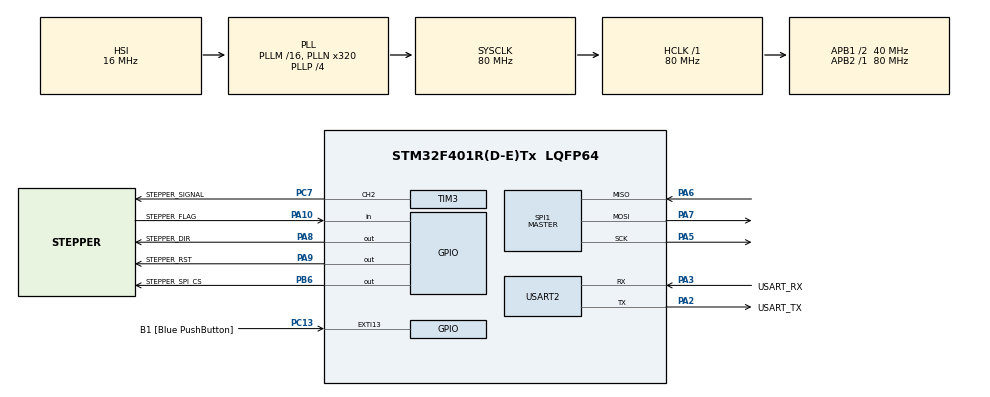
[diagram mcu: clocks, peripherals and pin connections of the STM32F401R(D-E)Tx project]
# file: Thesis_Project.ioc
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Mcu.Family=STM32F4
Mcu.Name=STM32F401R(D-E)Tx
Mcu.Package=LQFP64
NVIC.EXTI15_10_IRQn=true\:0\:0\:false\:false\:true\:true\:true\:true
NVIC.PriorityGroup=NVIC_PRIORITYGROUP_4
PA10.GPIO_Label=STEPPER_FLAG
PA10.Signal=GPIO_Input
PA13.Mode=Serial_Wire
PA13.Signal=SYS_JTMS-SWDIO
PA14.GPIO_Label=TCK
PA14.Mode=Serial_Wire
PA14.Signal=SYS_JTCK-SWCLK
PA2.GPIO_Label=USART_TX
PA2.GPIO_Mode=GPIO_MODE_AF_PP
PA2.GPIO_PuPd=GPIO_NOPULL
PA2.GPIO_Speed=GPIO_SPEED_FREQ_LOW
PA2.Mode=Asynchronous
PA2.Signal=USART2_TX
PA3.GPIO_Label=USART_RX
PA3.GPIO_Mode=GPIO_MODE_AF_PP
PA3.GPIO_PuPd=GPIO_NOPULL
PA3.GPIO_Speed=GPIO_SPEED_FREQ_LOW
PA3.Mode=Asynchronous
PA3.Signal=USART2_RX
PA5.Mode=Full_Duplex_Master
PA5.Signal=SPI1_SCK
PA6.Mode=Full_Duplex_Master
PA6.Signal=SPI1_MISO
PA7.Mode=Full_Duplex_Master
PA7.Signal=SPI1_MOSI
PA8.GPIO_Label=STEPPER_DIR
PA8.Signal=GPIO_Output
PA9.GPIO_Label=STEPPER_RST
PA9.Signal=GPIO_Output
PB6.GPIO_Label=STEPPER_SPI_CS
PB6.GPIO_PuPd=GPIO_PULLUP
PB6.GPIO_Speed=GPIO_SPEED_FREQ_LOW
PB6.Signal=GPIO_Output
PC13-ANTI_TAMP.GPIO_Label=B1 [Blue PushButton]
PC13-ANTI_TAMP.GPIO_ModeDefaultEXTI=GPIO_MODE_IT_FALLING
PC13-ANTI_TAMP.GPIO_PuPd=GPIO_NOPULL
PC13-ANTI_TAMP.Signal=GPXTI13
PC14-OSC32_IN.Mode=LSE-External-Oscillator
PC14-OSC32_IN.Signal=RCC_OSC32_IN
PC15-OSC32_OUT.Mode=LSE-External-Oscillator
PC15-OSC32_OUT.Signal=RCC_OSC32_OUT
PC7.GPIO_Label=STEPPER_SIGNAL
PC7.Signal=S_TIM3_CH2
PH0\ -\ OSC_IN.Mode=HSE-External-Clock-Source
PH0\ -\ OSC_IN.Signal=RCC_OSC_IN
PH1\ -\ OSC_OUT.Mode=HSE-External-Clock-Source
PH1\ -\ OSC_OUT.Signal=RCC_OSC_OUT
ProjectManager.HeapSize=0x200
ProjectManager.StackSize=0x400
ProjectManager.TargetToolchain=STM32CubeIDE
RCC.48MHZClocksFreq_Value=45714285.71428572
RCC.AHBFreq_Value=80000000
RCC.APB1CLKDivider=RCC_HCLK_DIV2
RCC.APB1Freq_Value=40000000
RCC.APB1TimFreq_Value=80000000
RCC.APB2Freq_Value=80000000
RCC.APB2TimFreq_Value=80000000
RCC.CortexFreq_Value=80000000
RCC.HCLKFreq_Value=80000000
RCC.HSE_VALUE=8000000
RCC.HSI_VALUE=16000000
RCC.PLLN=320
RCC.PLLP=RCC_PLLP_DIV4
RCC.PLLQ=7
RCC.SYSCLKFreq_VALUE=80000000
RCC.SYSCLKSource=RCC_SYSCLKSOURCE_PLLCLK
RCC.VCOOutputFreq_Value=320000000
SH.S_TIM3_CH2.0=TIM3_CH2,PWM Generation2 CH2
SPI1.BaudRatePrescaler=SPI_BAUDRATEPRESCALER_32
SPI1.Direction=SPI_DIRECTION_2LINES
SPI1.Mode=SPI_MODE_MASTER
SPI1.VirtualType=VM_MASTER
TIM3.Channel-PWM\ Generation2\ CH2=TIM_CHANNEL_2
TIM3.Period=999
TIM3.Prescaler=79
USART2.VirtualMode=VM_ASYNC
VP_TIM3_VS_ClockSourceINT.Mode=Internal
board=NUCLEO-F401RE

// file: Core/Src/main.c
/* USER CODE BEGIN Header */
/**
  ******************************************************************************
  * @file           : main.c
  * @brief          : Main program body
  ******************************************************************************
  * @attention
  *
  * Copyright (c) 2025 STMicroelectronics.
  * All rights reserved.
  *
  * This software is licensed under terms that can be found in the LICENSE file
  * in the root directory of this software component.
  * If no LICENSE file comes with this software, it is provided AS-IS.
  *
  ******************************************************************************
  */
/* USER CODE END Header */
#include "main.h"

/* USER CODE BEGIN Includes */
#include "l6474.h"
/* USER CODE END Includes */

/* USER CODE BEGIN PD */

uint16_t status_step;

/* USER CODE END PD */

SPI_HandleTypeDef hspi1;

TIM_HandleTypeDef htim3;

UART_HandleTypeDef huart2;

/* USER CODE BEGIN PV */

static l6474TypeDef stepper_motor = {
    .gpio_cs_number = STEPPER_SPI_CS_Pin,
    .gpio_cs_port = STEPPER_SPI_CS_GPIO_Port,
    .gpio_dir_number = STEPPER_DIR_Pin,
    .gpio_dir_port = STEPPER_DIR_GPIO_Port,
    .gpio_rst_number = STEPPER_RST_Pin,
    .gpio_rst_port = STEPPER_RST_GPIO_Port,
    .hspi_l6474 = &hspi1,
    .tim_channel = TIM_CHANNEL_2,
    .tim_handler = &htim3
};

/* USER CODE END PV */

void SystemClock_Config(void);
static void MX_GPIO_Init(void);
static void MX_USART2_UART_Init(void);
static void MX_SPI1_Init(void);
static void MX_TIM3_Init(void);

/* USER CODE BEGIN 0 */

float vel_temp = 6.28; // 1 rotation per second OR 60 rpm

/* USER CODE END 0 */

int main(void)
{

  /* MCU Configuration--------------------------------------------------------*/

  /* Reset of all peripherals, Initializes the Flash interface and the Systick. */
  HAL_Init();

  /* Configure the system clock */
  SystemClock_Config();

  /* Initialize all configured peripherals */
  MX_GPIO_Init();
  MX_USART2_UART_Init();
  MX_SPI1_Init();
  MX_TIM3_Init();
  /* USER CODE BEGIN 2 */

  HAL_Delay(1000);
  l6474_init(&stepper_motor);
  l6474_enable(&stepper_motor);
  HAL_Delay(2000);
  l6474_sel_vel(&stepper_motor, vel_temp);

  /* USER CODE END 2 */

  /* Infinite loop */
  /* USER CODE BEGIN WHILE */
  while (1)
  {
	  l6474_get_speed_pos(&stepper_motor);
	  HAL_Delay(1);

    /* USER CODE END WHILE */

  }
}

void SystemClock_Config(void)
{
  RCC_OscInitTypeDef RCC_OscInitStruct = {0};
  RCC_ClkInitTypeDef RCC_ClkInitStruct = {0};

  /** Configure the main internal regulator output voltage
  */
  __HAL_RCC_PWR_CLK_ENABLE();
  __HAL_PWR_VOLTAGESCALING_CONFIG(PWR_REGULATOR_VOLTAGE_SCALE2);

  /** Initializes the RCC Oscillators according to the specified parameters
  * in the RCC_OscInitTypeDef structure.
  */
  RCC_OscInitStruct.OscillatorType = RCC_OSCILLATORTYPE_HSI;
  RCC_OscInitStruct.HSIState = RCC_HSI_ON;
  RCC_OscInitStruct.HSICalibrationValue = RCC_HSICALIBRATION_DEFAULT;
  RCC_OscInitStruct.PLL.PLLState = RCC_PLL_ON;
  RCC_OscInitStruct.PLL.PLLSource = RCC_PLLSOURCE_HSI;
  RCC_OscInitStruct.PLL.PLLM = 16;
  RCC_OscInitStruct.PLL.PLLN = 320;
  RCC_OscInitStruct.PLL.PLLP = RCC_PLLP_DIV4;
  RCC_OscInitStruct.PLL.PLLQ = 7;
  if (HAL_RCC_OscConfig(&RCC_OscInitStruct) != HAL_OK)
  {
    Error_Handler();
  }

  /** Initializes the CPU, AHB and APB buses clocks
  */
  RCC_ClkInitStruct.ClockType = RCC_CLOCKTYPE_HCLK|RCC_CLOCKTYPE_SYSCLK
                              |RCC_CLOCKTYPE_PCLK1|RCC_CLOCKTYPE_PCLK2;
  RCC_ClkInitStruct.SYSCLKSource = RCC_SYSCLKSOURCE_PLLCLK;
  RCC_ClkInitStruct.AHBCLKDivider = RCC_SYSCLK_DIV1;
  RCC_ClkInitStruct.APB1CLKDivider = RCC_HCLK_DIV2;
  RCC_ClkInitStruct.APB2CLKDivider = RCC_HCLK_DIV1;

  if (HAL_RCC_ClockConfig(&RCC_ClkInitStruct, FLASH_LATENCY_2) != HAL_OK)
  {
    Error_Handler();
  }
}

static void MX_SPI1_Init(void)
{

  /* SPI1 parameter configuration*/
  hspi1.Instance = SPI1;
  hspi1.Init.Mode = SPI_MODE_MASTER;
  hspi1.Init.Direction = SPI_DIRECTION_2LINES;
  hspi1.Init.DataSize = SPI_DATASIZE_8BIT;
  hspi1.Init.CLKPolarity = SPI_POLARITY_LOW;
  hspi1.Init.CLKPhase = SPI_PHASE_1EDGE;
  hspi1.Init.NSS = SPI_NSS_SOFT;
  hspi1.Init.BaudRatePrescaler = SPI_BAUDRATEPRESCALER_32;
  hspi1.Init.FirstBit = SPI_FIRSTBIT_MSB;
  hspi1.Init.TIMode = SPI_TIMODE_DISABLE;
  hspi1.Init.CRCCalculation = SPI_CRCCALCULATION_DISABLE;
  hspi1.Init.CRCPolynomial = 10;
  if (HAL_SPI_Init(&hspi1) != HAL_OK)
  {
    Error_Handler();
  }

}

static void MX_TIM3_Init(void)
{

  TIM_ClockConfigTypeDef sClockSourceConfig = {0};
  TIM_MasterConfigTypeDef sMasterConfig = {0};
  TIM_OC_InitTypeDef sConfigOC = {0};

  htim3.Instance = TIM3;
  htim3.Init.Prescaler = 79;
  htim3.Init.CounterMode = TIM_COUNTERMODE_UP;
  htim3.Init.Period = 999;
  htim3.Init.ClockDivision = TIM_CLOCKDIVISION_DIV1;
  htim3.Init.AutoReloadPreload = TIM_AUTORELOAD_PRELOAD_DISABLE;
  if (HAL_TIM_Base_Init(&htim3) != HAL_OK)
  {
    Error_Handler();
  }
  sClockSourceConfig.ClockSource = TIM_CLOCKSOURCE_INTERNAL;
  if (HAL_TIM_ConfigClockSource(&htim3, &sClockSourceConfig) != HAL_OK)
  {
    Error_Handler();
  }
  if (HAL_TIM_PWM_Init(&htim3) != HAL_OK)
  {
    Error_Handler();
  }
  sMasterConfig.MasterOutputTrigger = TIM_TRGO_RESET;
  sMasterConfig.MasterSlaveMode = TIM_MASTERSLAVEMODE_DISABLE;
  if (HAL_TIMEx_MasterConfigSynchronization(&htim3, &sMasterConfig) != HAL_OK)
  {
    Error_Handler();
  }
  sConfigOC.OCMode = TIM_OCMODE_PWM1;
  sConfigOC.Pulse = 0;
  sConfigOC.OCPolarity = TIM_OCPOLARITY_HIGH;
  sConfigOC.OCFastMode = TIM_OCFAST_DISABLE;
  if (HAL_TIM_PWM_ConfigChannel(&htim3, &sConfigOC, TIM_CHANNEL_2) != HAL_OK)
  {
    Error_Handler();
  }
  HAL_TIM_MspPostInit(&htim3);

}

static void MX_USART2_UART_Init(void)
{

  huart2.Instance = USART2;
  huart2.Init.BaudRate = 115200;
  huart2.Init.WordLength = UART_WORDLENGTH_8B;
  huart2.Init.StopBits = UART_STOPBITS_1;
  huart2.Init.Parity = UART_PARITY_NONE;
  huart2.Init.Mode = UART_MODE_TX_RX;
  huart2.Init.HwFlowCtl = UART_HWCONTROL_NONE;
  huart2.Init.OverSampling = UART_OVERSAMPLING_16;
  if (HAL_UART_Init(&huart2) != HAL_OK)
  {
    Error_Handler();
  }

}

static void MX_GPIO_Init(void)
{
  GPIO_InitTypeDef GPIO_InitStruct = {0};

  /* GPIO Ports Clock Enable */
  __HAL_RCC_GPIOC_CLK_ENABLE();
  __HAL_RCC_GPIOH_CLK_ENABLE();
  __HAL_RCC_GPIOA_CLK_ENABLE();
  __HAL_RCC_GPIOB_CLK_ENABLE();

  /*Configure GPIO pin Output Level */
  HAL_GPIO_WritePin(GPIOA, STEPPER_DIR_Pin|STEPPER_RST_Pin, GPIO_PIN_RESET);

  /*Configure GPIO pin Output Level */
  HAL_GPIO_WritePin(STEPPER_SPI_CS_GPIO_Port, STEPPER_SPI_CS_Pin, GPIO_PIN_RESET);

  /*Configure GPIO pin : B1_Pin */
  GPIO_InitStruct.Pin = B1_Pin;
  GPIO_InitStruct.Mode = GPIO_MODE_IT_FALLING;
  GPIO_InitStruct.Pull = GPIO_NOPULL;
  HAL_GPIO_Init(B1_GPIO_Port, &GPIO_InitStruct);

  /*Configure GPIO pins : STEPPER_DIR_Pin STEPPER_RST_Pin */
  GPIO_InitStruct.Pin = STEPPER_DIR_Pin|STEPPER_RST_Pin;
  GPIO_InitStruct.Mode = GPIO_MODE_OUTPUT_PP;
  GPIO_InitStruct.Pull = GPIO_NOPULL;
  GPIO_InitStruct.Speed = GPIO_SPEED_FREQ_LOW;
  HAL_GPIO_Init(GPIOA, &GPIO_InitStruct);

  /*Configure GPIO pin : STEPPER_FLAG_Pin */
  GPIO_InitStruct.Pin = STEPPER_FLAG_Pin;
  GPIO_InitStruct.Mode = GPIO_MODE_INPUT;
  GPIO_InitStruct.Pull = GPIO_NOPULL;
  HAL_GPIO_Init(STEPPER_FLAG_GPIO_Port, &GPIO_InitStruct);

  /*Configure GPIO pin : STEPPER_SPI_CS_Pin */
  GPIO_InitStruct.Pin = STEPPER_SPI_CS_Pin;
  GPIO_InitStruct.Mode = GPIO_MODE_OUTPUT_PP;
  GPIO_InitStruct.Pull = GPIO_PULLUP;
  GPIO_InitStruct.Speed = GPIO_SPEED_FREQ_LOW;
  HAL_GPIO_Init(STEPPER_SPI_CS_GPIO_Port, &GPIO_InitStruct);

  /* EXTI interrupt init*/
  HAL_NVIC_SetPriority(EXTI15_10_IRQn, 0, 0);
  HAL_NVIC_EnableIRQ(EXTI15_10_IRQn);

}

void Error_Handler(void)
{
  __disable_irq();
  while (1)
  {
  }
}
